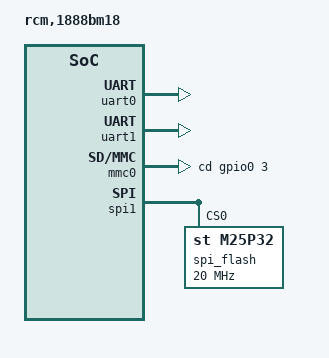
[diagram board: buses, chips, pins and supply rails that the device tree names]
/*
 * Device Tree Source for RCM 1888BM18 platform
 *
 * Copyright (C) 2020 MIR
 *	Mikhail.Petrov@mir.dev
 *
 * SPDX-License-Identifier: GPL-2.0+
 */

/include/ "1888bm18.dtsi"

/ {
	model = "rcm,1888bm18";
	compatible = "rcm,1888bm18";

	aliases {
		serial0 = &uart0;
		serial1 = &uart1;
		mmc0 = &mmc0;
	};

	dcr {
		cpufreq: cpufreq@0x38006000 {
			status = "ok";
			//        freq  div
			freqs = < 50000  4>,
			        <100000  2>,
			        <200000  1>;
		};
	};

	plb {

		lsif {
	 		uart0: uart0@C0029000 {
	 			status = "ok";
	 		};

	 		uart1: uart1@C0039000 {
	 			status = "ok";
	 		};

			gpio0: gpio0@C0028000 {
				status = "ok";
			};

			gpio1: gpio1@C0038000 {
				status = "ok";
			};

	 		mmc0: mmc0@C002C000 {
	 			status = "ok";
	 			cd-gpios = <&gpio0 3 0>; // card detect
	 		};

			spi1: spi@C003B000 {
	 			status = "ok";
				num-cs = <1>;

				spi_flash@0 {
					compatible = "st,m25p32", "spi-nor";
					reg = <0>;
					spi-max-frequency = <20000000>;
				};
			};
		};
	};

	chosen {
		stdout-path = &uart0;
	};
};

// Ethernet
// #include "mb150-03.dtsi"
